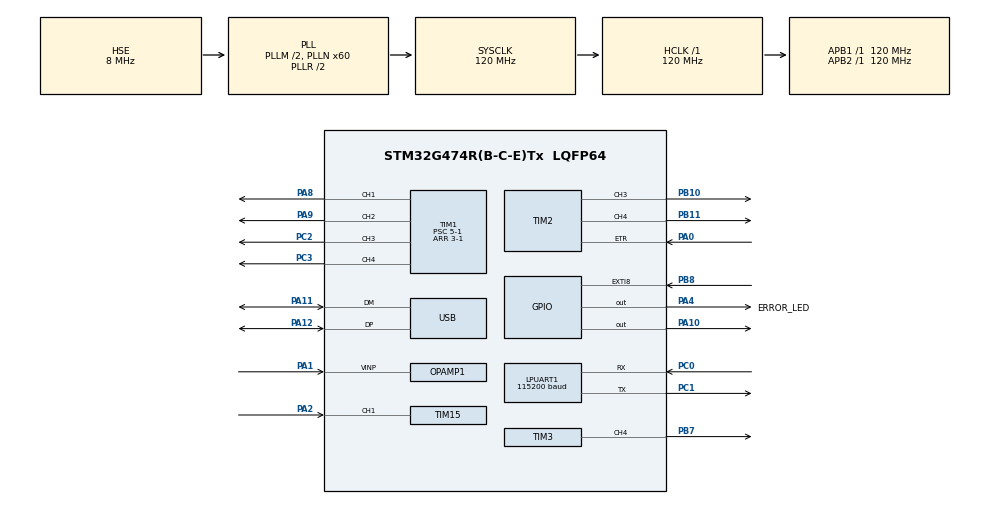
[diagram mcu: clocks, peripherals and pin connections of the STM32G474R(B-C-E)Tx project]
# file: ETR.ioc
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ADC1.Channel-0\#ChannelRegularConversion=ADC_CHANNEL_VOPAMP1
ADC1.DMAContinuousRequests=ENABLE
ADC1.ExternalTrigConv=ADC_EXTERNALTRIG_T1_CC1
ADC1.NbrOfConversionFlag=1
ADC1.OffsetNumber-0\#ChannelRegularConversion=ADC_OFFSET_NONE
ADC1.Rank-0\#ChannelRegularConversion=1
ADC1.SamplingTime-0\#ChannelRegularConversion=ADC_SAMPLETIME_2CYCLES_5
ADC1.master=1
ADC2.Channel-1\#ChannelRegularConversion=ADC_CHANNEL_VOPAMP3_ADC2
ADC2.DMAContinuousRequests=ENABLE
ADC2.ExternalTrigConv=ADC_EXTERNALTRIG_T1_CC2
ADC2.ExternalTrigConvEdge=ADC_EXTERNALTRIGCONVEDGE_RISING
ADC2.NbrOfConversionFlag=1
ADC2.OffsetNumber-1\#ChannelRegularConversion=ADC_OFFSET_NONE
ADC2.Rank-1\#ChannelRegularConversion=1
ADC2.SamplingTime-1\#ChannelRegularConversion=ADC_SAMPLETIME_2CYCLES_5
ADC3.Channel-0\#ChannelRegularConversion=ADC_CHANNEL_VOPAMP3_ADC3
ADC3.DMAContinuousRequests=ENABLE
ADC3.ExternalTrigConv=ADC_EXTERNALTRIG_T1_CC3
ADC3.NbrOfConversionFlag=1
ADC3.OffsetNumber-0\#ChannelRegularConversion=ADC_OFFSET_NONE
ADC3.Rank-0\#ChannelRegularConversion=1
ADC3.SamplingTime-0\#ChannelRegularConversion=ADC_SAMPLETIME_2CYCLES_5
ADC3.master=1
Dma.ADC1.1.Direction=DMA_PERIPH_TO_MEMORY
Dma.ADC1.1.EventEnable=DISABLE
Dma.ADC1.1.Instance=DMA1_Channel2
Dma.ADC1.1.MemDataAlignment=DMA_MDATAALIGN_WORD
Dma.ADC1.1.MemInc=DMA_MINC_ENABLE
Dma.ADC1.1.Mode=DMA_CIRCULAR
Dma.ADC1.1.PeriphDataAlignment=DMA_PDATAALIGN_WORD
Dma.ADC1.1.PeriphInc=DMA_PINC_DISABLE
Dma.ADC1.1.Polarity=HAL_DMAMUX_REQ_GEN_RISING
Dma.ADC1.1.Priority=DMA_PRIORITY_LOW
Dma.ADC1.1.RequestNumber=1
Dma.ADC1.1.SignalID=NONE
Dma.ADC1.1.SyncEnable=DISABLE
Dma.ADC1.1.SyncPolarity=HAL_DMAMUX_SYNC_NO_EVENT
Dma.ADC1.1.SyncRequestNumber=1
Dma.ADC1.1.SyncSignalID=NONE
Dma.ADC2.3.Direction=DMA_PERIPH_TO_MEMORY
Dma.ADC2.3.EventEnable=DISABLE
Dma.ADC2.3.Instance=DMA1_Channel3
Dma.ADC2.3.MemDataAlignment=DMA_MDATAALIGN_WORD
Dma.ADC2.3.MemInc=DMA_MINC_ENABLE
Dma.ADC2.3.Mode=DMA_CIRCULAR
Dma.ADC2.3.PeriphDataAlignment=DMA_PDATAALIGN_WORD
Dma.ADC2.3.PeriphInc=DMA_PINC_DISABLE
Dma.ADC2.3.Polarity=HAL_DMAMUX_REQ_GEN_RISING
Dma.ADC2.3.Priority=DMA_PRIORITY_LOW
Dma.ADC2.3.RequestNumber=1
Dma.ADC2.3.SignalID=NONE
Dma.ADC2.3.SyncEnable=DISABLE
Dma.ADC2.3.SyncPolarity=HAL_DMAMUX_SYNC_NO_EVENT
Dma.ADC2.3.SyncRequestNumber=1
Dma.ADC2.3.SyncSignalID=NONE
Dma.ADC3.2.Direction=DMA_PERIPH_TO_MEMORY
Dma.ADC3.2.EventEnable=DISABLE
Dma.ADC3.2.Instance=DMA1_Channel4
Dma.ADC3.2.MemDataAlignment=DMA_MDATAALIGN_WORD
Dma.ADC3.2.MemInc=DMA_MINC_ENABLE
Dma.ADC3.2.Mode=DMA_NORMAL
Dma.ADC3.2.PeriphDataAlignment=DMA_PDATAALIGN_WORD
Dma.ADC3.2.PeriphInc=DMA_PINC_DISABLE
Dma.ADC3.2.Polarity=HAL_DMAMUX_REQ_GEN_RISING
Dma.ADC3.2.Priority=DMA_PRIORITY_LOW
Dma.ADC3.2.RequestNumber=1
Dma.ADC3.2.SignalID=NONE
Dma.ADC3.2.SyncEnable=DISABLE
Dma.ADC3.2.SyncPolarity=HAL_DMAMUX_SYNC_NO_EVENT
Dma.ADC3.2.SyncRequestNumber=1
Dma.ADC3.2.SyncSignalID=NONE
Dma.Request0=TIM3_CH4
Dma.Request1=ADC1
Dma.Request2=ADC3
Dma.Request3=ADC2
Dma.TIM3_CH4.0.Direction=DMA_MEMORY_TO_PERIPH
Dma.TIM3_CH4.0.EventEnable=DISABLE
Dma.TIM3_CH4.0.Instance=DMA1_Channel1
Dma.TIM3_CH4.0.MemDataAlignment=DMA_MDATAALIGN_HALFWORD
Dma.TIM3_CH4.0.MemInc=DMA_MINC_ENABLE
Dma.TIM3_CH4.0.Mode=DMA_NORMAL
Dma.TIM3_CH4.0.PeriphDataAlignment=DMA_PDATAALIGN_HALFWORD
Dma.TIM3_CH4.0.PeriphInc=DMA_PINC_DISABLE
Dma.TIM3_CH4.0.Polarity=HAL_DMAMUX_REQ_GEN_RISING
Dma.TIM3_CH4.0.Priority=DMA_PRIORITY_LOW
Dma.TIM3_CH4.0.RequestNumber=1
Dma.TIM3_CH4.0.SignalID=NONE
Dma.TIM3_CH4.0.SyncEnable=DISABLE
Dma.TIM3_CH4.0.SyncPolarity=HAL_DMAMUX_SYNC_NO_EVENT
Dma.TIM3_CH4.0.SyncRequestNumber=1
Dma.TIM3_CH4.0.SyncSignalID=NONE
LPUART1.BaudRate=115200
Mcu.Family=STM32G4
Mcu.Name=STM32G474R(B-C-E)Tx
Mcu.Package=LQFP64
NVIC.ADC1_2_IRQn=true\:0\:0\:false\:false\:true\:true\:true\:true
NVIC.DMA1_Channel1_IRQn=true\:0\:0\:false\:false\:true\:false\:true\:true
NVIC.DMA1_Channel2_IRQn=true\:0\:0\:false\:false\:true\:false\:true\:true
NVIC.DMA1_Channel3_IRQn=true\:0\:0\:false\:false\:true\:false\:true\:true
NVIC.DMA1_Channel4_IRQn=true\:0\:0\:false\:false\:true\:false\:true\:true
NVIC.EXTI9_5_IRQn=true\:0\:0\:false\:false\:true\:true\:true\:true
NVIC.PriorityGroup=NVIC_PRIORITYGROUP_4
NVIC.TIM1_BRK_TIM15_IRQn=true\:0\:0\:false\:false\:true\:true\:true\:true
NVIC.TIM4_IRQn=true\:0\:0\:false\:false\:true\:true\:true\:true
NVIC.USB_LP_IRQn=true\:0\:0\:false\:false\:true\:false\:true\:true
OPAMP1.PowerMode=OPAMP_POWERMODE_HIGHSPEED
OPAMP3.PowerMode=OPAMP_POWERMODE_HIGHSPEED
PA0.Signal=S_TIM2_ETR
PA1.Signal=SharedAnalog_PA1
PA10.Signal=GPIO_Output
PA11.Mode=Device
PA11.Signal=USB_DM
PA12.Mode=Device
PA12.Signal=USB_DP
PA13.Mode=Serial_Wire
PA13.Signal=SYS_JTMS-SWDIO
PA14.Mode=Serial_Wire
PA14.Signal=SYS_JTCK-SWCLK
PA2.Signal=S_TIM15_CH1
PA4.GPIO_Label=ERROR_LED
PA4.Signal=GPIO_Output
PA8.GPIO_ModeDefaultPP=GPIO_MODE_AF_PP
PA8.GPIO_Speed=GPIO_SPEED_FREQ_VERY_HIGH
PA8.Signal=S_TIM1_CH1
PA9.GPIO_Speed=GPIO_SPEED_FREQ_VERY_HIGH
PA9.Signal=S_TIM1_CH2
PB10.Signal=S_TIM2_CH3
PB11.Signal=S_TIM2_CH4
PB7.Signal=S_TIM3_CH4
PB8-BOOT0.Signal=GPXTI8
PC0.Mode=Asynchronous
PC0.Signal=LPUART1_RX
PC1.Mode=Asynchronous
PC1.Signal=LPUART1_TX
PC2.GPIO_Speed=GPIO_SPEED_FREQ_VERY_HIGH
PC2.Signal=S_TIM1_CH3
PC3.GPIO_Speed=GPIO_SPEED_FREQ_VERY_HIGH
PC3.Signal=S_TIM1_CH4
PF0-OSC_IN.Mode=HSE-External-Oscillator
PF0-OSC_IN.Signal=RCC_OSC_IN
PF1-OSC_OUT.Mode=HSE-External-Oscillator
PF1-OSC_OUT.Signal=RCC_OSC_OUT
ProjectManager.HeapSize=0x200
ProjectManager.StackSize=0x400
ProjectManager.TargetToolchain=STM32CubeIDE
RCC.ADC12Freq_Value=120000000
RCC.ADC345Freq_Value=120000000
RCC.AHBFreq_Value=120000000
RCC.APB1Freq_Value=120000000
RCC.APB1TimFreq_Value=120000000
RCC.APB2Freq_Value=120000000
RCC.APB2TimFreq_Value=120000000
RCC.CK48CLockSelection=RCC_USBCLKSOURCE_HSI48
RCC.CortexFreq_Value=120000000
RCC.EXTERNAL_CLOCK_VALUE=12288000
RCC.HCLKFreq_Value=120000000
RCC.HSE_VALUE=8000000
RCC.HSI48_VALUE=48000000
RCC.HSI_VALUE=16000000
RCC.LSE_VALUE=32768
RCC.PLLM=RCC_PLLM_DIV2
RCC.PLLN=60
RCC.PLLSourceVirtual=RCC_PLLSOURCE_HSE
RCC.SYSCLKFreq_VALUE=120000000
RCC.SYSCLKSource=RCC_SYSCLKSOURCE_PLLCLK
RCC.USBFreq_Value=48000000
RCC.VCOOutputFreq_Value=240000000
SH.S_TIM15_CH1.0=TIM15_CH1,Input_Capture1_from_TI1
SH.S_TIM15_CH1.1=TIM15_CH1,Input_Capture2_from_TI1
SH.S_TIM15_CH1.2=TIM15_CH1,TriggerSource_TI1FP1
SH.S_TIM1_CH1.0=TIM1_CH1,Output Compare1 CH1
SH.S_TIM1_CH2.0=TIM1_CH2,Output Compare2 CH2
SH.S_TIM1_CH3.0=TIM1_CH3,Output Compare3 CH3
SH.S_TIM1_CH4.0=TIM1_CH4,Output Compare4 CH4
SH.S_TIM2_CH3.0=TIM2_CH3,PWM Generation3 CH3
SH.S_TIM2_CH4.0=TIM2_CH4,PWM Generation4 CH4
SH.S_TIM2_ETR.0=TIM2_ETR,ClockSourceETR_Mode2
SH.S_TIM3_CH4.0=TIM3_CH4,PWM Generation4 CH4
SH.SharedAnalog_PA1.0=ADC2_IN2
SH.SharedAnalog_PA1.1=OPAMP1_VINP,Follower_Internally_Connected
SH.SharedAnalog_PA1.2=OPAMP3_VINP,Follower_Internally_Connected
SYS.TrimmingMode=USER_TRIMMING
SYS.VoltageScaling=SYSCFG_VREFBUF_VOLTAGE_SCALE0
TIM1.AutoReloadPreload=TIM_AUTORELOAD_PRELOAD_DISABLE
TIM1.Channel-Output\ Compare1\ CH1=TIM_CHANNEL_1
TIM1.Channel-Output\ Compare2\ CH2=TIM_CHANNEL_2
TIM1.Channel-Output\ Compare3\ CH3=TIM_CHANNEL_3
TIM1.Channel-Output\ Compare4\ CH4=TIM_CHANNEL_4
TIM1.OC4Preload=DISABLE
TIM1.OCIdleState_2=TIM_OCIDLESTATE_RESET
TIM1.OCIdleState_3=TIM_OCIDLESTATE_RESET
TIM1.OCIdleState_4=TIM_OCIDLESTATE_RESET
TIM1.OCMode_1=TIM_OCMODE_TOGGLE
TIM1.OCMode_2=TIM_OCMODE_TOGGLE
TIM1.OCMode_3=TIM_OCMODE_TOGGLE
TIM1.OCMode_4=TIM_OCMODE_TOGGLE
TIM1.PeriodNoDither=3-1
TIM1.Prescaler=5-1
TIM1.PulseNoDither_2=1
TIM1.PulseNoDither_3=2
TIM1.PulseNoDither_4=3
TIM1.TIM_MasterOutputTrigger=TIM_TRGO_UPDATE
TIM15.Channel-Input_Capture1_from_TI1=TIM_CHANNEL_1
TIM15.Channel-Input_Capture2_from_TI1=TIM_CHANNEL_2
TIM15.ICPolarity_CH1=TIM_INPUTCHANNELPOLARITY_FALLING
TIM2.Channel-PWM\ Generation3\ CH3=TIM_CHANNEL_3
TIM2.Channel-PWM\ Generation4\ CH4=TIM_CHANNEL_4
TIM2.ClockPolarity=TIM_CLOCKPOLARITY_NONINVERTED
TIM2.PulseNoDither_3=1000
TIM2.PulseNoDither_4=1000000
TIM3.Channel-PWM\ Generation4\ CH4=TIM_CHANNEL_4
TIM3.PeriodNoDither=150
TIM3.Prescaler=0
TIM4.AutoReloadPreload=TIM_AUTORELOAD_PRELOAD_ENABLE
TIM4.PeriodNoDither=10000-1
TIM4.Prescaler=12000-1
USB_DEVICE.CLASS_NAME_FS=CDC
USB_DEVICE.VirtualMode=Cdc
USB_DEVICE.VirtualModeFS=Cdc_FS
VP_ADC1_OPAMP_INTERNAL1.Mode=IN-OPAMP1
VP_ADC2_OPAMP_INTERNAL3.Mode=IN-OPAMP3
VP_ADC3_OPAMP_INTERNAL3.Mode=IN-OPAMP3
VP_SYS_VS_DBSignals.Mode=DisableDeadBatterySignals
VP_TIM15_VS_ClockSourceINT.Mode=Internal
VP_TIM15_VS_ControllerModeReset.Mode=Reset Mode
VP_TIM1_VS_ClockSourceINT.Mode=Internal
VP_TIM3_VS_ClockSourceINT.Mode=Internal
VP_TIM4_VS_ClockSourceINT.Mode=Internal
VP_USB_DEVICE_VS_USB_DEVICE_CDC_FS.Mode=CDC_FS
VREF+.Mode=InternalMode
VREF+.Signal=VREFBUF_OUT
board=custom

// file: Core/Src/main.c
/* USER CODE BEGIN Header */
/**
  ******************************************************************************
  * @file           : main.c
  * @brief          : Main program body
  ******************************************************************************
  * @attention
  *
  * Copyright (c) 2024 STMicroelectronics.
  * All rights reserved.
  *
  * This software is licensed under terms that can be found in the LICENSE file
  * in the root directory of this software component.
  * If no LICENSE file comes with this software, it is provided AS-IS.
  *
  ******************************************************************************
  */
/* USER CODE END Header */
#include "main.h"
#include "usb_device.h"

/* USER CODE BEGIN Includes */

#include "fft_windows.h"
#include "ws2812.h"
#include "usbd_cdc_if.h"
#include "arm_math.h"
#include "arm_const_structs.h"

/* USER CODE END Includes */

/* USER CODE BEGIN PTD */
#define __IO volatile

#define VREF_VOLTAGE 2.0f  // 参�?�电压为3.3V
#define ADC_RESOLUTION 4095.0f  // ADC分辨率为12�????
//#define LOOP 1
//#define DELAY 1
#define TOWHILE 1

#define BUFFER_SIZE 600
#define BUFFER_SIZE_HALF BUFFER_SIZE/2
#define BUFFER_DELAY 0

#define CDC_BUFFER_SIZE 100

/* USER CODE END PTD */

ADC_HandleTypeDef hadc1;
ADC_HandleTypeDef hadc2;
ADC_HandleTypeDef hadc3;
DMA_HandleTypeDef hdma_adc1;
DMA_HandleTypeDef hdma_adc2;
DMA_HandleTypeDef hdma_adc3;

UART_HandleTypeDef hlpuart1;

OPAMP_HandleTypeDef hopamp1;
OPAMP_HandleTypeDef hopamp3;

TIM_HandleTypeDef htim1;
TIM_HandleTypeDef htim2;
TIM_HandleTypeDef htim3;
TIM_HandleTypeDef htim4;
TIM_HandleTypeDef htim15;
DMA_HandleTypeDef hdma_tim3_ch4;

/* USER CODE BEGIN PV */

extern USBD_HandleTypeDef hUsbDeviceFS;

/* Captured Value */
__IO uint32_t            uwIC2Value = 0;
/* Duty Cycle Value */
__IO uint32_t            uwDutyCycle = 0;
/* Frequency Value */
__IO uint32_t            uwFrequency = 0;

uint32_t USER_Freq = 0x00;
uint32_t USER_CounterTicks = 0x00;

uint32_t ADC_BUFFER[BUFFER_SIZE];
uint32_t ADC1_BUFFER[BUFFER_SIZE];

uint32_t DAC_BUFFER[BUFFER_SIZE];

float32_t WHILE_BUFFER1[BUFFER_SIZE];

float32_t WHILE_BUFFER[BUFFER_SIZE];
float32_t FFT_BUFFER[BUFFER_SIZE*2];

uint8_t CDC_BUFFER[CDC_BUFFER_SIZE];

uint32_t DELAY_BUFFER_0[BUFFER_DELAY];
uint32_t DELAY_BUFFER_1[BUFFER_DELAY];

uint32_t DELAY_BUFFER1_0[BUFFER_DELAY];
uint32_t DELAY_BUFFER1_1[BUFFER_DELAY];

uint32_t ADC_VALUE;
uint32_t WHILE_FLAG=0;

uint32_t BOOT0_BTN_COUNT=0;

/* USER CODE END PV */

void SystemClock_Config(void);
static void MX_GPIO_Init(void);
static void MX_DMA_Init(void);
static void MX_TIM2_Init(void);
static void MX_TIM4_Init(void);
static void MX_TIM3_Init(void);
static void MX_ADC1_Init(void);
static void MX_ADC2_Init(void);
static void MX_ADC3_Init(void);
static void MX_OPAMP1_Init(void);
static void MX_OPAMP3_Init(void);
static void MX_TIM1_Init(void);
static void MX_TIM15_Init(void);
static void MX_LPUART1_UART_Init(void);

/* USER CODE BEGIN 0 */
uint32_t SysTick_GetValue(void)
{
    return SysTick->VAL;
}

float ConvertToVoltage(uint32_t adcValue)
{
    return (adcValue / ADC_RESOLUTION) * VREF_VOLTAGE -VREF_VOLTAGE/2;
}

/* USER CODE END 0 */

int main(void)
{

  /* MCU Configuration--------------------------------------------------------*/

  /* Reset of all peripherals, Initializes the Flash interface and the Systick. */
  HAL_Init();

  /* Configure the system clock */
  SystemClock_Config();

  /* Initialize all configured peripherals */
  MX_GPIO_Init();
  MX_DMA_Init();
  MX_TIM2_Init();
  MX_TIM4_Init();
  MX_USB_Device_Init();
  MX_TIM3_Init();
  MX_ADC1_Init();
  MX_ADC2_Init();
  MX_ADC3_Init();
  MX_OPAMP1_Init();
  MX_OPAMP3_Init();
  MX_TIM1_Init();
  MX_TIM15_Init();
  MX_LPUART1_UART_Init();
  /* USER CODE BEGIN 2 */

//  HAL_PWREx_ControlVoltageScaling(PWR_REGULATOR_VOLTAGE_SCALE1);

  HAL_OPAMP_Start(&hopamp1);
  HAL_OPAMP_Start(&hopamp3);

  HAL_ADC_Start_DMA(&hadc2, ADC_BUFFER, BUFFER_SIZE);

  HAL_TIM_Base_Start(&htim1);

  HAL_TIM_Base_Start(&htim2);
  HAL_TIM_Base_Start(&htim3);
  HAL_TIM_Base_Start_IT(&htim4);

  HAL_TIM_PWM_Start(&htim2, TIM_CHANNEL_4);
  HAL_TIM_PWM_Start(&htim2, TIM_CHANNEL_3);

  HAL_TIM_OC_Start(&htim1, TIM_CHANNEL_1);
  HAL_TIM_OC_Start(&htim1, TIM_CHANNEL_2);
  HAL_TIM_OC_Start(&htim1, TIM_CHANNEL_3);
  HAL_TIM_OC_Start(&htim1, TIM_CHANNEL_4);

  HAL_TIM_IC_Start_IT(&htim15, TIM_CHANNEL_1);
  HAL_TIM_IC_Start_IT(&htim15, TIM_CHANNEL_2);

//  HAL_GPIO_WritePin(ERROR_LED_GPIO_Port, ERROR_LED_Pin, 1);

// //NOT OK !!! DONT USE
//  HAL_GPIO_DeInit(ERROR_LED_GPIO_Port, ERROR_LED_Pin);
//  HAL_TIM_OC_Start(&htim1, TIM_CHANNEL_1||TIM_CHANNEL_2||TIM_CHANNEL_3||TIM_CHANNEL_4);
//  HAL_TIM_OC_Start(&htim1, TIM_CHANNEL_ALL);

  /* USER CODE END 2 */

  /* Infinite loop */
  /* USER CODE BEGIN WHILE */
  while (1)
  {
//	  __HAL_TIM_PRESCALER(&htim1,BOOT0_BTN_COUNT);//when 170Mhz 9 is best when 120Mhz 4 is best
//	  WS2812_BRIGHTNESS=BOOT0_BTN_COUNT;
		if (WHILE_FLAG==2) {

//		 ws2812_set_all(rgb_to_color(0x00, 0x00, 0x0f));
//		 ws2812_gradient(100, 10);
//		 ws2812_set_all(rgb_to_color(0x00, 0x0f, 0x00));
//		 ws2812_gradient(100, 10);
//		 ws2812_set_all(rgb_to_color(0x0f, 0x00, 0x00));
//		 ws2812_gradient(100, 10);

			rainbow_effect(255, 10);

			  switch (BOOT0_BTN_COUNT%5) {
				case 1:
					fft_bartlett_f32(WHILE_BUFFER, BUFFER_SIZE);
					break;
				case 2:
					fft_blackman_harris_92db_f32(WHILE_BUFFER, BUFFER_SIZE);
					break;
				case 3:
					fft_hamming_f32(WHILE_BUFFER, BUFFER_SIZE);
					break;
				case 4:
					fft_hanning_f32(WHILE_BUFFER, BUFFER_SIZE);
					break;
				default:
					break;
			}
		for (int i = 0; i < BUFFER_SIZE; ++i) {
//		ws2812_set_all(rgb_to_color(255-uwDutyCycle, uwDutyCycle, 0x00));
		ws2812_update_force();
		  sprintf(CDC_BUFFER,"Val:%.16f,%d,%d,%d,%d,%d,%d,%d\r\n",WHILE_BUFFER[i],i,USER_CounterTicks,uwDutyCycle,uwFrequency,uwIC2Value,BOOT0_BTN_COUNT,SysTick_GetValue());
//		  CDC_Transmit_FS(CDC_BUFFER, CDC_BUFFER_SIZE);
		  	 HAL_UART_Transmit(&hlpuart1, CDC_BUFFER, CDC_BUFFER_SIZE, 100);

		}

//		HAL_Delay(10);
		  WHILE_FLAG=0;
		}
    /* USER CODE END WHILE */

  }
}

void SystemClock_Config(void)
{
  RCC_OscInitTypeDef RCC_OscInitStruct = {0};
  RCC_ClkInitTypeDef RCC_ClkInitStruct = {0};

  /** Configure the main internal regulator output voltage
  */
  HAL_PWREx_ControlVoltageScaling(PWR_REGULATOR_VOLTAGE_SCALE1);

  /** Initializes the RCC Oscillators according to the specified parameters
  * in the RCC_OscInitTypeDef structure.
  */
  RCC_OscInitStruct.OscillatorType = RCC_OSCILLATORTYPE_HSI48|RCC_OSCILLATORTYPE_HSE;
  RCC_OscInitStruct.HSEState = RCC_HSE_ON;
  RCC_OscInitStruct.HSI48State = RCC_HSI48_ON;
  RCC_OscInitStruct.PLL.PLLState = RCC_PLL_ON;
  RCC_OscInitStruct.PLL.PLLSource = RCC_PLLSOURCE_HSE;
  RCC_OscInitStruct.PLL.PLLM = RCC_PLLM_DIV2;
  RCC_OscInitStruct.PLL.PLLN = 60;
  RCC_OscInitStruct.PLL.PLLP = RCC_PLLP_DIV2;
  RCC_OscInitStruct.PLL.PLLQ = RCC_PLLQ_DIV2;
  RCC_OscInitStruct.PLL.PLLR = RCC_PLLR_DIV2;
  if (HAL_RCC_OscConfig(&RCC_OscInitStruct) != HAL_OK)
  {
    Error_Handler();
  }

  /** Initializes the CPU, AHB and APB buses clocks
  */
  RCC_ClkInitStruct.ClockType = RCC_CLOCKTYPE_HCLK|RCC_CLOCKTYPE_SYSCLK
                              |RCC_CLOCKTYPE_PCLK1|RCC_CLOCKTYPE_PCLK2;
  RCC_ClkInitStruct.SYSCLKSource = RCC_SYSCLKSOURCE_PLLCLK;
  RCC_ClkInitStruct.AHBCLKDivider = RCC_SYSCLK_DIV1;
  RCC_ClkInitStruct.APB1CLKDivider = RCC_HCLK_DIV1;
  RCC_ClkInitStruct.APB2CLKDivider = RCC_HCLK_DIV1;

  if (HAL_RCC_ClockConfig(&RCC_ClkInitStruct, FLASH_LATENCY_3) != HAL_OK)
  {
    Error_Handler();
  }
}

static void MX_ADC1_Init(void)
{

  ADC_MultiModeTypeDef multimode = {0};
  ADC_ChannelConfTypeDef sConfig = {0};

  /** Common config
  */
  hadc1.Instance = ADC1;
  hadc1.Init.ClockPrescaler = ADC_CLOCK_SYNC_PCLK_DIV2;
  hadc1.Init.Resolution = ADC_RESOLUTION_12B;
  hadc1.Init.DataAlign = ADC_DATAALIGN_RIGHT;
  hadc1.Init.GainCompensation = 0;
  hadc1.Init.ScanConvMode = ADC_SCAN_DISABLE;
  hadc1.Init.EOCSelection = ADC_EOC_SINGLE_CONV;
  hadc1.Init.LowPowerAutoWait = DISABLE;
  hadc1.Init.ContinuousConvMode = DISABLE;
  hadc1.Init.NbrOfConversion = 1;
  hadc1.Init.DiscontinuousConvMode = DISABLE;
  hadc1.Init.ExternalTrigConv = ADC_EXTERNALTRIG_T1_CC1;
  hadc1.Init.ExternalTrigConvEdge = ADC_EXTERNALTRIGCONVEDGE_RISING;
  hadc1.Init.DMAContinuousRequests = ENABLE;
  hadc1.Init.Overrun = ADC_OVR_DATA_PRESERVED;
  hadc1.Init.OversamplingMode = DISABLE;
  if (HAL_ADC_Init(&hadc1) != HAL_OK)
  {
    Error_Handler();
  }

  /** Configure the ADC multi-mode
  */
  multimode.Mode = ADC_MODE_INDEPENDENT;
  if (HAL_ADCEx_MultiModeConfigChannel(&hadc1, &multimode) != HAL_OK)
  {
    Error_Handler();
  }

  /** Configure Regular Channel
  */
  sConfig.Channel = ADC_CHANNEL_VOPAMP1;
  sConfig.Rank = ADC_REGULAR_RANK_1;
  sConfig.SamplingTime = ADC_SAMPLETIME_2CYCLES_5;
  sConfig.SingleDiff = ADC_SINGLE_ENDED;
  sConfig.OffsetNumber = ADC_OFFSET_NONE;
  sConfig.Offset = 0;
  if (HAL_ADC_ConfigChannel(&hadc1, &sConfig) != HAL_OK)
  {
    Error_Handler();
  }

}

static void MX_ADC2_Init(void)
{

  ADC_ChannelConfTypeDef sConfig = {0};

  /** Common config
  */
  hadc2.Instance = ADC2;
  hadc2.Init.ClockPrescaler = ADC_CLOCK_SYNC_PCLK_DIV2;
  hadc2.Init.Resolution = ADC_RESOLUTION_12B;
  hadc2.Init.DataAlign = ADC_DATAALIGN_RIGHT;
  hadc2.Init.GainCompensation = 0;
  hadc2.Init.ScanConvMode = ADC_SCAN_DISABLE;
  hadc2.Init.EOCSelection = ADC_EOC_SINGLE_CONV;
  hadc2.Init.LowPowerAutoWait = DISABLE;
  hadc2.Init.ContinuousConvMode = DISABLE;
  hadc2.Init.NbrOfConversion = 1;
  hadc2.Init.DiscontinuousConvMode = DISABLE;
  hadc2.Init.ExternalTrigConv = ADC_EXTERNALTRIG_T1_CC2;
  hadc2.Init.ExternalTrigConvEdge = ADC_EXTERNALTRIGCONVEDGE_RISING;
  hadc2.Init.DMAContinuousRequests = ENABLE;
  hadc2.Init.Overrun = ADC_OVR_DATA_PRESERVED;
  hadc2.Init.OversamplingMode = DISABLE;
  if (HAL_ADC_Init(&hadc2) != HAL_OK)
  {
    Error_Handler();
  }

  /** Configure Regular Channel
  */
  sConfig.Channel = ADC_CHANNEL_VOPAMP3_ADC2;
  sConfig.Rank = ADC_REGULAR_RANK_1;
  sConfig.SamplingTime = ADC_SAMPLETIME_2CYCLES_5;
  sConfig.SingleDiff = ADC_SINGLE_ENDED;
  sConfig.OffsetNumber = ADC_OFFSET_NONE;
  sConfig.Offset = 0;
  if (HAL_ADC_ConfigChannel(&hadc2, &sConfig) != HAL_OK)
  {
    Error_Handler();
  }

}

static void MX_ADC3_Init(void)
{

  ADC_MultiModeTypeDef multimode = {0};
  ADC_ChannelConfTypeDef sConfig = {0};

  /** Common config
  */
  hadc3.Instance = ADC3;
  hadc3.Init.ClockPrescaler = ADC_CLOCK_SYNC_PCLK_DIV2;
  hadc3.Init.Resolution = ADC_RESOLUTION_12B;
  hadc3.Init.DataAlign = ADC_DATAALIGN_RIGHT;
  hadc3.Init.GainCompensation = 0;
  hadc3.Init.ScanConvMode = ADC_SCAN_DISABLE;
  hadc3.Init.EOCSelection = ADC_EOC_SINGLE_CONV;
  hadc3.Init.LowPowerAutoWait = DISABLE;
  hadc3.Init.ContinuousConvMode = DISABLE;
  hadc3.Init.NbrOfConversion = 1;
  hadc3.Init.DiscontinuousConvMode = DISABLE;
  hadc3.Init.ExternalTrigConv = ADC_EXTERNALTRIG_T1_CC3;
  hadc3.Init.ExternalTrigConvEdge = ADC_EXTERNALTRIGCONVEDGE_RISING;
  hadc3.Init.DMAContinuousRequests = ENABLE;
  hadc3.Init.Overrun = ADC_OVR_DATA_PRESERVED;
  hadc3.Init.OversamplingMode = DISABLE;
  if (HAL_ADC_Init(&hadc3) != HAL_OK)
  {
    Error_Handler();
  }

  /** Configure the ADC multi-mode
  */
  multimode.Mode = ADC_MODE_INDEPENDENT;
  if (HAL_ADCEx_MultiModeConfigChannel(&hadc3, &multimode) != HAL_OK)
  {
    Error_Handler();
  }

  /** Configure Regular Channel
  */
  sConfig.Channel = ADC_CHANNEL_VOPAMP3_ADC3;
  sConfig.Rank = ADC_REGULAR_RANK_1;
  sConfig.SamplingTime = ADC_SAMPLETIME_2CYCLES_5;
  sConfig.SingleDiff = ADC_SINGLE_ENDED;
  sConfig.OffsetNumber = ADC_OFFSET_NONE;
  sConfig.Offset = 0;
  if (HAL_ADC_ConfigChannel(&hadc3, &sConfig) != HAL_OK)
  {
    Error_Handler();
  }

}

static void MX_LPUART1_UART_Init(void)
{

  hlpuart1.Instance = LPUART1;
  hlpuart1.Init.BaudRate = 115200;
  hlpuart1.Init.WordLength = UART_WORDLENGTH_8B;
  hlpuart1.Init.StopBits = UART_STOPBITS_1;
  hlpuart1.Init.Parity = UART_PARITY_NONE;
  hlpuart1.Init.Mode = UART_MODE_TX_RX;
  hlpuart1.Init.HwFlowCtl = UART_HWCONTROL_NONE;
  hlpuart1.Init.OneBitSampling = UART_ONE_BIT_SAMPLE_DISABLE;
  hlpuart1.Init.ClockPrescaler = UART_PRESCALER_DIV1;
  hlpuart1.AdvancedInit.AdvFeatureInit = UART_ADVFEATURE_NO_INIT;
  if (HAL_UART_Init(&hlpuart1) != HAL_OK)
  {
    Error_Handler();
  }
  if (HAL_UARTEx_SetTxFifoThreshold(&hlpuart1, UART_TXFIFO_THRESHOLD_1_8) != HAL_OK)
  {
    Error_Handler();
  }
  if (HAL_UARTEx_SetRxFifoThreshold(&hlpuart1, UART_RXFIFO_THRESHOLD_1_8) != HAL_OK)
  {
    Error_Handler();
  }
  if (HAL_UARTEx_DisableFifoMode(&hlpuart1) != HAL_OK)
  {
    Error_Handler();
  }

}

static void MX_OPAMP1_Init(void)
{

  hopamp1.Instance = OPAMP1;
  hopamp1.Init.PowerMode = OPAMP_POWERMODE_HIGHSPEED;
  hopamp1.Init.Mode = OPAMP_FOLLOWER_MODE;
  hopamp1.Init.NonInvertingInput = OPAMP_NONINVERTINGINPUT_IO0;
  hopamp1.Init.InternalOutput = ENABLE;
  hopamp1.Init.TimerControlledMuxmode = OPAMP_TIMERCONTROLLEDMUXMODE_DISABLE;
  hopamp1.Init.UserTrimming = OPAMP_TRIMMING_FACTORY;
  if (HAL_OPAMP_Init(&hopamp1) != HAL_OK)
  {
    Error_Handler();
  }

}

static void MX_OPAMP3_Init(void)
{

  hopamp3.Instance = OPAMP3;
  hopamp3.Init.PowerMode = OPAMP_POWERMODE_HIGHSPEED;
  hopamp3.Init.Mode = OPAMP_FOLLOWER_MODE;
  hopamp3.Init.NonInvertingInput = OPAMP_NONINVERTINGINPUT_IO2;
  hopamp3.Init.InternalOutput = ENABLE;
  hopamp3.Init.TimerControlledMuxmode = OPAMP_TIMERCONTROLLEDMUXMODE_DISABLE;
  hopamp3.Init.UserTrimming = OPAMP_TRIMMING_FACTORY;
  if (HAL_OPAMP_Init(&hopamp3) != HAL_OK)
  {
    Error_Handler();
  }

}

static void MX_TIM1_Init(void)
{

  TIM_ClockConfigTypeDef sClockSourceConfig = {0};
  TIM_MasterConfigTypeDef sMasterConfig = {0};
  TIM_OC_InitTypeDef sConfigOC = {0};
  TIM_BreakDeadTimeConfigTypeDef sBreakDeadTimeConfig = {0};

  htim1.Instance = TIM1;
  htim1.Init.Prescaler = 5-1;
  htim1.Init.CounterMode = TIM_COUNTERMODE_UP;
  htim1.Init.Period = 2;
  htim1.Init.ClockDivision = TIM_CLOCKDIVISION_DIV1;
  htim1.Init.RepetitionCounter = 0;
  htim1.Init.AutoReloadPreload = TIM_AUTORELOAD_PRELOAD_DISABLE;
  if (HAL_TIM_Base_Init(&htim1) != HAL_OK)
  {
    Error_Handler();
  }
  sClockSourceConfig.ClockSource = TIM_CLOCKSOURCE_INTERNAL;
  if (HAL_TIM_ConfigClockSource(&htim1, &sClockSourceConfig) != HAL_OK)
  {
    Error_Handler();
  }
  if (HAL_TIM_OC_Init(&htim1) != HAL_OK)
  {
    Error_Handler();
  }
  sMasterConfig.MasterOutputTrigger = TIM_TRGO_UPDATE;
  sMasterConfig.MasterOutputTrigger2 = TIM_TRGO2_RESET;
  sMasterConfig.MasterSlaveMode = TIM_MASTERSLAVEMODE_DISABLE;
  if (HAL_TIMEx_MasterConfigSynchronization(&htim1, &sMasterConfig) != HAL_OK)
  {
    Error_Handler();
  }
  sConfigOC.OCMode = TIM_OCMODE_TOGGLE;
  sConfigOC.Pulse = 0;
  sConfigOC.OCPolarity = TIM_OCPOLARITY_HIGH;
  sConfigOC.OCNPolarity = TIM_OCNPOLARITY_HIGH;
  sConfigOC.OCFastMode = TIM_OCFAST_DISABLE;
  sConfigOC.OCIdleState = TIM_OCIDLESTATE_RESET;
  sConfigOC.OCNIdleState = TIM_OCNIDLESTATE_RESET;
  if (HAL_TIM_OC_ConfigChannel(&htim1, &sConfigOC, TIM_CHANNEL_1) != HAL_OK)
  {
    Error_Handler();
  }
  sConfigOC.Pulse = 1;
  if (HAL_TIM_OC_ConfigChannel(&htim1, &sConfigOC, TIM_CHANNEL_2) != HAL_OK)
  {
    Error_Handler();
  }
  sConfigOC.Pulse = 2;
  if (HAL_TIM_OC_ConfigChannel(&htim1, &sConfigOC, TIM_CHANNEL_3) != HAL_OK)
  {
    Error_Handler();
  }
  sConfigOC.Pulse = 3;
  if (HAL_TIM_OC_ConfigChannel(&htim1, &sConfigOC, TIM_CHANNEL_4) != HAL_OK)
  {
    Error_Handler();
  }
  sBreakDeadTimeConfig.OffStateRunMode = TIM_OSSR_DISABLE;
  sBreakDeadTimeConfig.OffStateIDLEMode = TIM_OSSI_DISABLE;
  sBreakDeadTimeConfig.LockLevel = TIM_LOCKLEVEL_OFF;
  sBreakDeadTimeConfig.DeadTime = 0;
  sBreakDeadTimeConfig.BreakState = TIM_BREAK_DISABLE;
  sBreakDeadTimeConfig.BreakPolarity = TIM_BREAKPOLARITY_HIGH;
  sBreakDeadTimeConfig.BreakFilter = 0;
  sBreakDeadTimeConfig.BreakAFMode = TIM_BREAK_AFMODE_INPUT;
  sBreakDeadTimeConfig.Break2State = TIM_BREAK2_DISABLE;
  sBreakDeadTimeConfig.Break2Polarity = TIM_BREAK2POLARITY_HIGH;
  sBreakDeadTimeConfig.Break2Filter = 0;
  sBreakDeadTimeConfig.Break2AFMode = TIM_BREAK_AFMODE_INPUT;
  sBreakDeadTimeConfig.AutomaticOutput = TIM_AUTOMATICOUTPUT_DISABLE;
  if (HAL_TIMEx_ConfigBreakDeadTime(&htim1, &sBreakDeadTimeConfig) != HAL_OK)
  {
    Error_Handler();
  }
  HAL_TIM_MspPostInit(&htim1);

}

static void MX_TIM2_Init(void)
{

  TIM_ClockConfigTypeDef sClockSourceConfig = {0};
  TIM_MasterConfigTypeDef sMasterConfig = {0};
  TIM_OC_InitTypeDef sConfigOC = {0};

  htim2.Instance = TIM2;
  htim2.Init.Prescaler = 0;
  htim2.Init.CounterMode = TIM_COUNTERMODE_UP;
  htim2.Init.Period = 4294967295;
  htim2.Init.ClockDivision = TIM_CLOCKDIVISION_DIV1;
  htim2.Init.AutoReloadPreload = TIM_AUTORELOAD_PRELOAD_DISABLE;
  if (HAL_TIM_Base_Init(&htim2) != HAL_OK)
  {
    Error_Handler();
  }
  sClockSourceConfig.ClockSource = TIM_CLOCKSOURCE_ETRMODE2;
  sClockSourceConfig.ClockPolarity = TIM_CLOCKPOLARITY_NONINVERTED;
  sClockSourceConfig.ClockPrescaler = TIM_CLOCKPRESCALER_DIV1;
  sClockSourceConfig.ClockFilter = 0;
  if (HAL_TIM_ConfigClockSource(&htim2, &sClockSourceConfig) != HAL_OK)
  {
    Error_Handler();
  }
  if (HAL_TIM_PWM_Init(&htim2) != HAL_OK)
  {
    Error_Handler();
  }
  sMasterConfig.MasterOutputTrigger = TIM_TRGO_RESET;
  sMasterConfig.MasterSlaveMode = TIM_MASTERSLAVEMODE_DISABLE;
  if (HAL_TIMEx_MasterConfigSynchronization(&htim2, &sMasterConfig) != HAL_OK)
  {
    Error_Handler();
  }
  sConfigOC.OCMode = TIM_OCMODE_PWM1;
  sConfigOC.Pulse = 1000;
  sConfigOC.OCPolarity = TIM_OCPOLARITY_HIGH;
  sConfigOC.OCFastMode = TIM_OCFAST_DISABLE;
  if (HAL_TIM_PWM_ConfigChannel(&htim2, &sConfigOC, TIM_CHANNEL_3) != HAL_OK)
  {
    Error_Handler();
  }
  sConfigOC.Pulse = 1000000;
  if (HAL_TIM_PWM_ConfigChannel(&htim2, &sConfigOC, TIM_CHANNEL_4) != HAL_OK)
  {
    Error_Handler();
  }
  HAL_TIM_MspPostInit(&htim2);

}

static void MX_TIM3_Init(void)
{

  TIM_ClockConfigTypeDef sClockSourceConfig = {0};
  TIM_MasterConfigTypeDef sMasterConfig = {0};
  TIM_OC_InitTypeDef sConfigOC = {0};

  htim3.Instance = TIM3;
  htim3.Init.Prescaler = 0;
  htim3.Init.CounterMode = TIM_COUNTERMODE_UP;
  htim3.Init.Period = 150;
  htim3.Init.ClockDivision = TIM_CLOCKDIVISION_DIV1;
  htim3.Init.AutoReloadPreload = TIM_AUTORELOAD_PRELOAD_DISABLE;
  if (HAL_TIM_Base_Init(&htim3) != HAL_OK)
  {
    Error_Handler();
  }
  sClockSourceConfig.ClockSource = TIM_CLOCKSOURCE_INTERNAL;
  if (HAL_TIM_ConfigClockSource(&htim3, &sClockSourceConfig) != HAL_OK)
  {
    Error_Handler();
  }
  if (HAL_TIM_PWM_Init(&htim3) != HAL_OK)
  {
    Error_Handler();
  }
  sMasterConfig.MasterOutputTrigger = TIM_TRGO_RESET;
  sMasterConfig.MasterSlaveMode = TIM_MASTERSLAVEMODE_DISABLE;
  if (HAL_TIMEx_MasterConfigSynchronization(&htim3, &sMasterConfig) != HAL_OK)
  {
    Error_Handler();
  }
  sConfigOC.OCMode = TIM_OCMODE_PWM1;
  sConfigOC.Pulse = 0;
  sConfigOC.OCPolarity = TIM_OCPOLARITY_HIGH;
  sConfigOC.OCFastMode = TIM_OCFAST_DISABLE;
  if (HAL_TIM_PWM_ConfigChannel(&htim3, &sConfigOC, TIM_CHANNEL_4) != HAL_OK)
  {
    Error_Handler();
  }
  HAL_TIM_MspPostInit(&htim3);

}

static void MX_TIM4_Init(void)
{

  TIM_ClockConfigTypeDef sClockSourceConfig = {0};
  TIM_MasterConfigTypeDef sMasterConfig = {0};

  htim4.Instance = TIM4;
  htim4.Init.Prescaler = 12000-1;
  htim4.Init.CounterMode = TIM_COUNTERMODE_UP;
  htim4.Init.Period = 9999;
  htim4.Init.ClockDivision = TIM_CLOCKDIVISION_DIV1;
  htim4.Init.AutoReloadPreload = TIM_AUTORELOAD_PRELOAD_ENABLE;
  if (HAL_TIM_Base_Init(&htim4) != HAL_OK)
  {
    Error_Handler();
  }
  sClockSourceConfig.ClockSource = TIM_CLOCKSOURCE_INTERNAL;
  if (HAL_TIM_ConfigClockSource(&htim4, &sClockSourceConfig) != HAL_OK)
  {
    Error_Handler();
  }
  sMasterConfig.MasterOutputTrigger = TIM_TRGO_RESET;
  sMasterConfig.MasterSlaveMode = TIM_MASTERSLAVEMODE_DISABLE;
  if (HAL_TIMEx_MasterConfigSynchronization(&htim4, &sMasterConfig) != HAL_OK)
  {
    Error_Handler();
  }

}

static void MX_TIM15_Init(void)
{

  TIM_ClockConfigTypeDef sClockSourceConfig = {0};
  TIM_SlaveConfigTypeDef sSlaveConfig = {0};
  TIM_MasterConfigTypeDef sMasterConfig = {0};
  TIM_IC_InitTypeDef sConfigIC = {0};

  htim15.Instance = TIM15;
  htim15.Init.Prescaler = 0;
  htim15.Init.CounterMode = TIM_COUNTERMODE_UP;
  htim15.Init.Period = 65535;
  htim15.Init.ClockDivision = TIM_CLOCKDIVISION_DIV1;
  htim15.Init.RepetitionCounter = 0;
  htim15.Init.AutoReloadPreload = TIM_AUTORELOAD_PRELOAD_DISABLE;
  if (HAL_TIM_Base_Init(&htim15) != HAL_OK)
  {
    Error_Handler();
  }
  sClockSourceConfig.ClockSource = TIM_CLOCKSOURCE_INTERNAL;
  if (HAL_TIM_ConfigClockSource(&htim15, &sClockSourceConfig) != HAL_OK)
  {
    Error_Handler();
  }
  if (HAL_TIM_IC_Init(&htim15) != HAL_OK)
  {
    Error_Handler();
  }
  sSlaveConfig.SlaveMode = TIM_SLAVEMODE_RESET;
  sSlaveConfig.InputTrigger = TIM_TS_TI1FP1;
  sSlaveConfig.TriggerPolarity = TIM_INPUTCHANNELPOLARITY_FALLING;
  sSlaveConfig.TriggerFilter = 0;
  if (HAL_TIM_SlaveConfigSynchro(&htim15, &sSlaveConfig) != HAL_OK)
  {
    Error_Handler();
  }
  sMasterConfig.MasterOutputTrigger = TIM_TRGO_RESET;
  sMasterConfig.MasterSlaveMode = TIM_MASTERSLAVEMODE_DISABLE;
  if (HAL_TIMEx_MasterConfigSynchronization(&htim15, &sMasterConfig) != HAL_OK)
  {
    Error_Handler();
  }
  sConfigIC.ICPolarity = TIM_INPUTCHANNELPOLARITY_FALLING;
  sConfigIC.ICSelection = TIM_ICSELECTION_DIRECTTI;
  sConfigIC.ICPrescaler = TIM_ICPSC_DIV1;
  sConfigIC.ICFilter = 0;
  if (HAL_TIM_IC_ConfigChannel(&htim15, &sConfigIC, TIM_CHANNEL_1) != HAL_OK)
  {
    Error_Handler();
  }
  sConfigIC.ICPolarity = TIM_INPUTCHANNELPOLARITY_RISING;
  sConfigIC.ICSelection = TIM_ICSELECTION_INDIRECTTI;
  if (HAL_TIM_IC_ConfigChannel(&htim15, &sConfigIC, TIM_CHANNEL_2) != HAL_OK)
  {
    Error_Handler();
  }

}

static void MX_DMA_Init(void)
{

  /* DMA controller clock enable */
  __HAL_RCC_DMAMUX1_CLK_ENABLE();
  __HAL_RCC_DMA1_CLK_ENABLE();

  /* DMA interrupt init */
  /* DMA1_Channel1_IRQn interrupt configuration */
  HAL_NVIC_SetPriority(DMA1_Channel1_IRQn, 0, 0);
  HAL_NVIC_EnableIRQ(DMA1_Channel1_IRQn);
  /* DMA1_Channel2_IRQn interrupt configuration */
  HAL_NVIC_SetPriority(DMA1_Channel2_IRQn, 0, 0);
  HAL_NVIC_EnableIRQ(DMA1_Channel2_IRQn);
  /* DMA1_Channel3_IRQn interrupt configuration */
  HAL_NVIC_SetPriority(DMA1_Channel3_IRQn, 0, 0);
  HAL_NVIC_EnableIRQ(DMA1_Channel3_IRQn);
  /* DMA1_Channel4_IRQn interrupt configuration */
  HAL_NVIC_SetPriority(DMA1_Channel4_IRQn, 0, 0);
  HAL_NVIC_EnableIRQ(DMA1_Channel4_IRQn);

}

static void MX_GPIO_Init(void)
{
  GPIO_InitTypeDef GPIO_InitStruct = {0};

  /* GPIO Ports Clock Enable */
  __HAL_RCC_GPIOF_CLK_ENABLE();
  __HAL_RCC_GPIOC_CLK_ENABLE();
  __HAL_RCC_GPIOA_CLK_ENABLE();
  __HAL_RCC_GPIOB_CLK_ENABLE();

  /*Configure GPIO pin Output Level */
  HAL_GPIO_WritePin(GPIOA, ERROR_LED_Pin|GPIO_PIN_10, GPIO_PIN_RESET);

  /*Configure GPIO pins : ERROR_LED_Pin PA10 */
  GPIO_InitStruct.Pin = ERROR_LED_Pin|GPIO_PIN_10;
  GPIO_InitStruct.Mode = GPIO_MODE_OUTPUT_PP;
  GPIO_InitStruct.Pull = GPIO_NOPULL;
  GPIO_InitStruct.Speed = GPIO_SPEED_FREQ_LOW;
  HAL_GPIO_Init(GPIOA, &GPIO_InitStruct);

  /*Configure GPIO pin : PB8 */
  GPIO_InitStruct.Pin = GPIO_PIN_8;
  GPIO_InitStruct.Mode = GPIO_MODE_IT_RISING;
  GPIO_InitStruct.Pull = GPIO_NOPULL;
  HAL_GPIO_Init(GPIOB, &GPIO_InitStruct);

  /* EXTI interrupt init*/
  HAL_NVIC_SetPriority(EXTI9_5_IRQn, 0, 0);
  HAL_NVIC_EnableIRQ(EXTI9_5_IRQn);

/* USER CODE BEGIN MX_GPIO_Init_2 */
  HAL_GPIO_WritePin(ERROR_LED_GPIO_Port, ERROR_LED_Pin, 1);

/* USER CODE END MX_GPIO_Init_2 */
}

/* USER CODE BEGIN 4 */

//delay
 void HAL_ADC_ConvHalfCpltCallback	(ADC_HandleTypeDef *hadc)
{

#if LOOP
	for (size_t i = 0; i < BUFFER_SIZE_HALF; i++) 			{		DAC_BUFFER[i] = ADC_BUFFER[i];	}
#endif

#if DELAY
	for (size_t i = 0; i < BUFFER_DELAY; i++)
	{
		DAC_BUFFER[i] = DELAY_BUFFER_1[i];
	}

	for (size_t i = BUFFER_DELAY; i < BUFFER_SIZE_HALF; i++)
	{
		DAC_BUFFER[i] = ADC_BUFFER[i-BUFFER_DELAY];
	}

	for (size_t i = BUFFER_SIZE_HALF; i < BUFFER_SIZE_HALF+BUFFER_DELAY; i++)
	{
		DELAY_BUFFER_0[i-BUFFER_SIZE_HALF] = ADC_BUFFER[i-BUFFER_DELAY];
	}
#endif

#if TOWHILE

	//抓数据进while
	if (WHILE_FLAG==0) {
		for (size_t i = 0; i < BUFFER_SIZE_HALF; i++)
		{		WHILE_BUFFER[i] =ConvertToVoltage(ADC_BUFFER[i]);	}
		WHILE_FLAG=1;
	}

#endif

}
 void HAL_ADC_ConvCpltCallback		(ADC_HandleTypeDef *hadc)
{

#if LOOP
	 	for (size_t i = BUFFER_SIZE_HALF; i < BUFFER_SIZE; i++) {		DAC_BUFFER[i] = ADC_BUFFER[i];	}
#endif

#if DELAY

	for (size_t i = 0; i < BUFFER_DELAY; i++)
	{
		DAC_BUFFER[i+BUFFER_SIZE_HALF] = DELAY_BUFFER_0[i];
	}

	for (size_t i = BUFFER_DELAY; i < BUFFER_SIZE_HALF; i++)
	{
		DAC_BUFFER[i+BUFFER_SIZE_HALF] = ADC_BUFFER[i+BUFFER_SIZE_HALF-BUFFER_DELAY];
	}

	for (size_t i = BUFFER_SIZE_HALF; i < BUFFER_SIZE_HALF+BUFFER_DELAY; i++)
	{
		DELAY_BUFFER_1[i-BUFFER_SIZE_HALF] = ADC_BUFFER[i+BUFFER_SIZE_HALF-BUFFER_DELAY];
	}

#endif

#if TOWHILE

//	抓数据进while
	if (WHILE_FLAG==1) {
		for (size_t i = BUFFER_SIZE_HALF; i < BUFFER_SIZE; i++)
		{		WHILE_BUFFER[i] =ConvertToVoltage(ADC_BUFFER[i]);		}
		WHILE_FLAG=2;
	}

#endif
}

 void HAL_TIM_IC_CaptureCallback(TIM_HandleTypeDef *htim)
 {

   if (htim->Instance == TIM15) // 判断是否为TIM15
   {

     if (htim->Channel == HAL_TIM_ACTIVE_CHANNEL_1)
     {

//  	   HAL_GPIO_TogglePin(ERROR_LED_GPIO_Port, ERROR_LED_Pin);

       /* Get the Input Capture value */
       uwIC2Value = HAL_TIM_ReadCapturedValue(htim, TIM_CHANNEL_1);

       if (uwIC2Value != 0)
       {
         /* Duty cycle computation */
         uwDutyCycle = 100-((HAL_TIM_ReadCapturedValue(htim, TIM_CHANNEL_2)) * 100) / uwIC2Value;

         /* uwFrequency computation
         TIM1 counter clock = (System Clock) */
         uwFrequency = ( HAL_RCC_GetSysClockFreq()  ) / uwIC2Value;

       }
       else
       {
         uwDutyCycle = 0;
         uwFrequency = 0;
       }
     }
   }
 }

/* USER CODE END 4 */

void Error_Handler(void)
{
  /* USER CODE BEGIN Error_Handler_Debug */
  /* User can add his own implementation to report the HAL error return state */

//  __disable_irq();
  HAL_GPIO_WritePin(ERROR_LED_GPIO_Port, ERROR_LED_Pin, 0);
//  while (1)
//  {
//
//  }
  /* USER CODE END Error_Handler_Debug */
}
